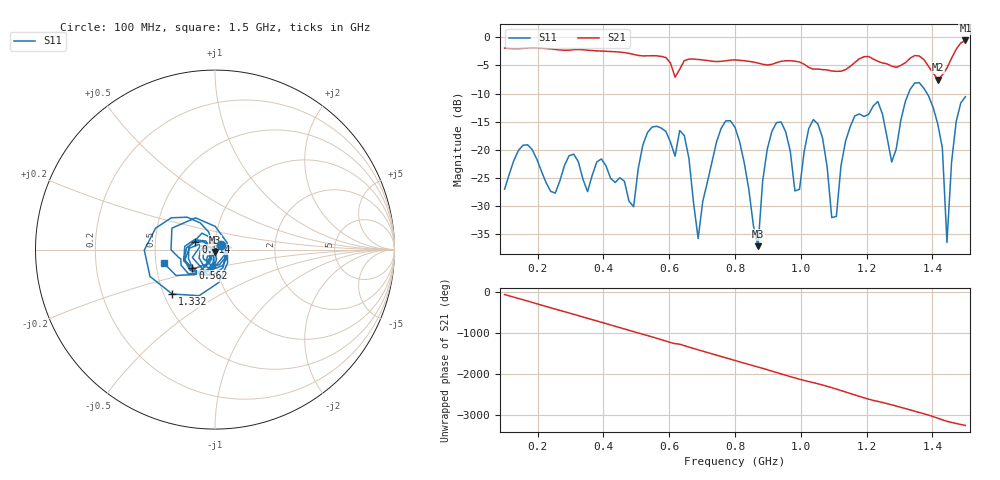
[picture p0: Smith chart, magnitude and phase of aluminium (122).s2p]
! NanoVNA-App
! Date: 2025-09-25 14:56:13
! Start: 100MHz Stop: 1,5GHz Points: 101
! S-Parameter data: F S11 S21 S12 S22
# Hz S RI R 50
!  Frequency  S11_Real  S11_Imag  S21_Real  S21_Imag  S12_Real  S12_Imag  S22_Real  S22_Imag
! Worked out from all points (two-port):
!   101 points, 100 MHz to 1.5 GHz, reference 50 ohm
!   highest |S21| = -0.57 dB at 1.5 GHz (marker M1); lowest = -7.5 dB at 1.416 GHz (marker M2)
!   |S21| within 3 dB of the highest: start of sweep to 587.4 MHz; 1.459 GHz to end of sweep (the widest 2 of 4)
!   lowest |S11| = -37.1 dB at 870 MHz (marker M3), VSWR 1.03, Z = 49.8 - j1.38 ohm
!   |S11| at or under -10 dB: start of sweep to 1.327 GHz; 1.384 GHz to end of sweep
!   S12 and S22 are empty: the file has one direction only
!   S11 on the Smith chart (normalised r, x): 100 MHz: 1.07, +0.06; 562 MHz: 0.76, -0.16; 814 MHz: 0.80, +0.07; 1.332 GHz: 0.55, -0.31; 1.5 GHz: 0.55, -0.09
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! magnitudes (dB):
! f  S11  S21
! 100 MHz  -27.0  -1.9
! 338 MHz  -25.2  -2.2
! 492 MHz  -30.1  -3.1
! 562 MHz  -15.8  -3.3
! 576 MHz  -16.1  -3.4
! 646 MHz  -17.5  -4.2
! 688 MHz  -35.8  -4.0
! 800 MHz  -16.0  -4.0
! 814 MHz  -18.6  -4.1
! 870 MHz  -37.1  -4.6
! 912 MHz  -16.7  -4.8
! 982 MHz  -27.3  -4.3
! 1.038 GHz  -14.6  -5.7
! 1.094 GHz  -32.0  -6.0
! 1.164 GHz  -14.0  -4.5
! 1.234 GHz  -11.4  -4.3
! 1.276 GHz  -22.2  -5.1
! 1.332 GHz  -9.3  -3.7
! 1.416 GHz  -15.4  -7.5
! 1.444 GHz  -36.5  -5.5
! 1.472 GHz  -15.0  -2.1
! 1.5 GHz  -10.6  -0.6
